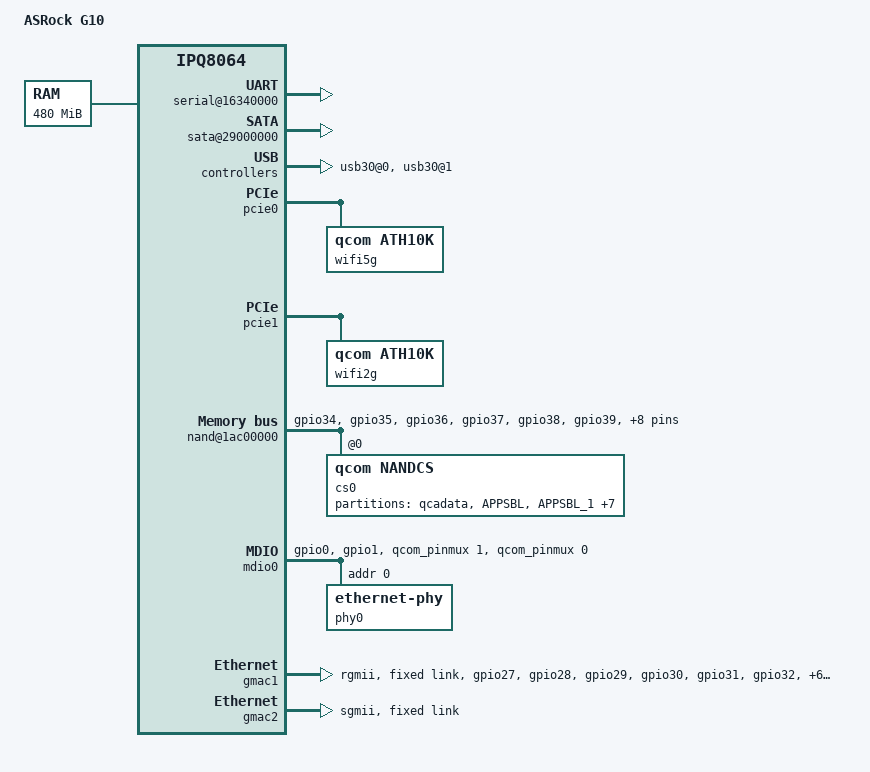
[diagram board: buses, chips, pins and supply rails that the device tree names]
#include "qcom-ipq8064-v1.0.dtsi"

#include <dt-bindings/input/input.h>

/ {
	model = "ASRock G10";
	compatible = "asrock,g10", "qcom,ipq8064";

	memory@0 {
		reg = <0x42000000 0x1e000000>;
		device_type = "memory";
	};

	reserved-memory {
		#address-cells = <1>;
		#size-cells = <1>;
		ranges;
		rsvd@41200000 {
			reg = <0x41200000 0x300000>;
			no-map;
		};
	};

	aliases {
		serial0 = &gsbi4_serial;
		mdio-gpio0 = &mdio0;
	};

	chosen {
		bootargs = "rootfstype=squashfs noinitrd earlyprintk";
		linux,stdout-path = "serial0:115200n8";
	};

	soc {
		pinmux@800000 {
			i2c4_pins: i2c4_pinmux {
				pins = "gpio12", "gpio13";
				function = "gsbi4";
				bias-disable;
			};

			nand_pins: nand_pins {
				mux {
					pins = "gpio34", "gpio35", "gpio36",
					       "gpio37", "gpio38", "gpio39",
					       "gpio40", "gpio41", "gpio42",
					       "gpio43", "gpio44", "gpio45",
					       "gpio46", "gpio47";
					function = "nand";
					drive-strength = <10>;
					bias-disable;
				};
				pullups {
					pins = "gpio39";
					bias-pull-up;
				};
				hold {
					pins = "gpio40", "gpio41", "gpio42",
					       "gpio43", "gpio44", "gpio45",
					       "gpio46", "gpio47";
					bias-bus-hold;
				};
			};

			mdio0_pins: mdio0_pins {
				mux {
					pins = "gpio0", "gpio1";
					function = "gpio";
					drive-strength = <8>;
					bias-disable;
				};
			};

			rgmii2_pins: rgmii2_pins {
				mux {
					pins = "gpio27", "gpio28", "gpio29", "gpio30", "gpio31", "gpio32",
					       "gpio51", "gpio52", "gpio59", "gpio60", "gpio61", "gpio62" ;
					function = "rgmii2";
					drive-strength = <8>;
					bias-disable;
				};
			};
		};

		gsbi@16300000 {
			qcom,mode = <GSBI_PROT_I2C_UART>;
			status = "ok";
			serial@16340000 {
				status = "ok";
			};
			/*
			 * The i2c device on gsbi4 should not be enabled.
			 * On ipq806x designs gsbi4 i2c is meant for exclusive
			 * RPM usage. Turning this on in kernel manifests as
			 * i2c failure for the RPM.
			 */
		};

		sata-phy@1b400000 {
			status = "ok";
		};

		sata@29000000 {
			status = "ok";
		};

		phy@100f8800 {		/* USB3 port 1 HS phy */
			status = "ok";
		};

		phy@100f8830 {		/* USB3 port 1 SS phy */
			status = "ok";
		};

		phy@110f8800 {		/* USB3 port 0 HS phy */
			status = "ok";
		};

		phy@110f8830 {		/* USB3 port 0 SS phy */
			status = "ok";
		};

		usb30@0 {
			status = "ok";
		};

		usb30@1 {
			status = "ok";
		};

		pcie0: pci@1b500000 {
			status = "ok";
		};

		pcie1: pci@1b700000 {
			status = "ok";
		};

		nand@1ac00000 {
			status = "ok";

			pinctrl-0 = <&nand_pins>;
			pinctrl-names = "default";

			cs0 {
				reg = <0>;
				compatible = "qcom,nandcs";

				nand-ecc-strength = <4>;
				nand-bus-width = <8>;
				nand-ecc-step-size = <512>;

				partitions {
					compatible = "fixed-partitions";
					#address-cells = <1>;
					#size-cells = <1>;
			
			qcadata@0 {
				label = "qcadata";
				reg = <0x0000000 0x0c80000>;
				read-only;
			};

			APPSBL@c80000 {
				label = "APPSBL";
				reg = <0x0c80000 0x0500000>;
				read-only;
			};

			APPSBL_1@43a0000 {
				label = "APPSBL_1";
				reg = <0x43a0000 0x0500000>;
				read-only;
			};

			APPSBLENV@1180000 {
				label = "APPSBLENV";
				reg = <0x1180000 0x0080000>;
			};

			BOOTCONFIG@4340000 {
				label = "BOOTCONFIG";
				reg = <0x4340000 0x0060000>;
			};

			art: art@1200000 {
				label = "art";
				reg = <0x1200000 0x0140000>;
			};

			firmware@1340000 {
				label = "linux";
				reg = <0x1340000 0x3000000>;
			};

			firmware2@48a0000 {
				label = "linux2";
				reg = <0x48a0000 0x3000000>;
			};

			nvram@78e0000 {
				label = "nvram";
				reg = <0x78e0000 0x40000>;
			};

			hwconfig@78a0000 {
				label = "hwconfig";
				reg = <0x78a0000 0x40000>;
			};


		};
		};
		};

		mdio0: mdio {
			compatible = "virtual,mdio-gpio";
			#address-cells = <1>;
			#size-cells = <0>;
			gpios = <&qcom_pinmux 1 0 &qcom_pinmux 0 0>;
			pinctrl-0 = <&mdio0_pins>;
			pinctrl-names = "default";

			phy0: ethernet-phy@0 {
				device_type = "ethernet-phy";
				reg = <0>;
				qca,ar8327-initvals = <
					0x00004 0x7600000   /* PAD0_MODE */
					0x00008 0x1000000   /* PAD5_MODE */
					0x0000c 0x80        /* PAD6_MODE */
					0x000e4 0x6a545     /* MAC_POWER_SEL */
					0x000e0 0xc74164de  /* SGMII_CTRL */
					0x0007c 0x4e        /* PORT0_STATUS */
					0x00094 0x4e        /* PORT6_STATUS */
					>;
			};

		};

		gmac1: ethernet@37200000 {
			status = "ok";
			phy-mode = "rgmii";
			qcom,id = <1>;

			pinctrl-0 = <&rgmii2_pins>;
			pinctrl-names = "default";

			mtd-mac-address = <&art 6>;

			fixed-link {
				speed = <1000>;
				full-duplex;
			};
		};

		gmac2: ethernet@37400000 {
			status = "ok";
			phy-mode = "sgmii";
			qcom,id = <2>;

			mtd-mac-address = <&art 0>;

			fixed-link {
				speed = <1000>;
				full-duplex;
			};
		};
	};

};

&adm_dma {
	status = "ok";
};

&pcie0 {
	status = "okay";

	bridge@0,0 {
		reg = <0x00000000 0 0 0 0>;
		#address-cells = <3>;
		#size-cells = <2>;
		ranges;

		wifi5g: wifi@1,0 {
			reg = <0x00010000 0 0 0 0>;
			compatible = "qcom,ath10k";
			qcom,ath10k-calibration-variant = "ASRock-G10";
		};
	};
};

&pcie1 {
	status = "okay";

	bridge@0,0 {
		reg = <0x00000000 0 0 0 0>;
		#address-cells = <3>;
		#size-cells = <2>;
		ranges;

		wifi2g: wifi@1,0 {
			reg = <0x00010000 0 0 0 0>;
			compatible = "qcom,ath10k";
			qcom,ath10k-calibration-variant = "ASRock-G10";
		};
	};
};
